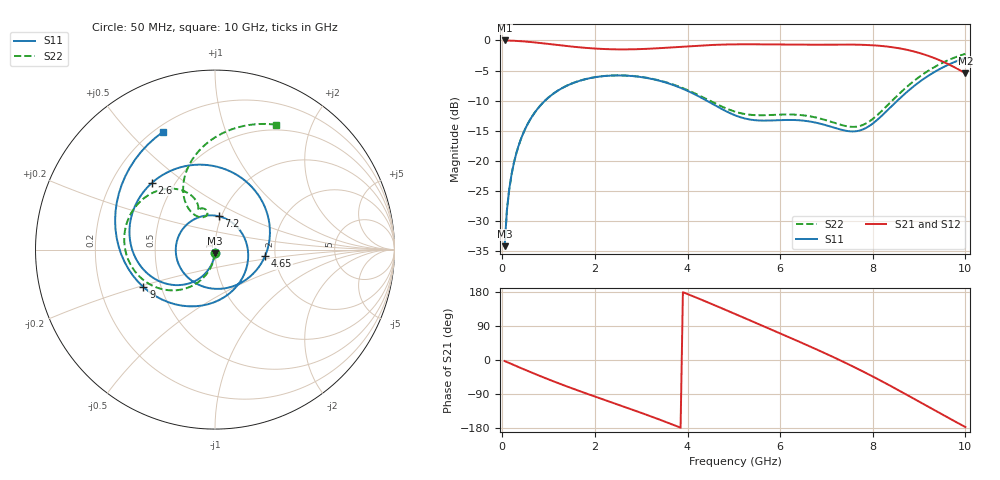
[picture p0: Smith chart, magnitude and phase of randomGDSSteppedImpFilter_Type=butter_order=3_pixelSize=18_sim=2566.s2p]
! freq	dB(S11)	phase(S11)	dB(S12)	phase(S12)
!  dB(S21)	phase(S21)	dB(S22)	phase(S22)
!S-par simulation data
#  GHz  S  DB  R 50
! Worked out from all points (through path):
!   200 points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, 50 MHz to 10 GHz, reference 50 ohm
!   highest |S21| = -0.01 dB at 50 MHz (marker M1); lowest = -5.5 dB at 10 GHz (marker M2)
!   group delay of S21, straight-line fit = 145 ps
!   lowest |S11| = -34.2 dB at 50 MHz (marker M3), VSWR 1.04, Z = 49.9 - j1.95 ohm
!   |S11| at or under -10 dB: start of sweep to 923.2 MHz; 4.413 GHz to 8.532 GHz (4.119 GHz wide, 63.6 % of centre)
!   |S22| runs from -34.2 to -2.2 dB; largest |S21 - S12| = 0
!   S11 on the Smith chart (normalised r, x): 50 MHz: 1.00, -0.04; 2.6 GHz: 0.38, +0.38; 4.65 GHz: 1.77, -0.14; 7.2 GHz: 0.97, +0.37; 9 GHz: 0.40, -0.21; 10 GHz: 0.23, +0.62
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0.05  -34.16 -92.8  -0.01 -2.7  -0.01 -2.7  -34.16 -92.4
0.1  -28.18 -96.0  -0.02 -5.4  -0.02 -5.4  -28.18 -95.1
0.2  -22.25 -101.9  -0.04 -10.7  -0.04 -10.7  -22.25 -100.2
0.5  -14.61 -118.9  -0.19 -26.3  -0.19 -26.3  -14.61 -114.8
1.1  -8.86 -151.3  -0.68 -56.0  -0.68 -56.0  -8.85 -141.9
1.75  -6.52 175.8  -1.21 -85.6  -1.21 -85.6  -6.52 -168.0
2.6  -5.82 133.2  -1.49 -122.1  -1.49 -122.1  -5.80 161.7
3.4  -6.71 88.6  -1.28 -157.4  -1.28 -157.4  -6.66 136.2
4.05  -8.55 44.5  -0.96 171.6  -0.96 171.6  -8.41 119.4
4.65  -11.01 -7.2  -0.72 141.2  -0.72 141.2  -10.65 111.3
5.05  -12.51 -49.1  -0.65 120.3  -0.65 120.3  -11.88 111.4
5.45  -13.24 -94.2  -0.65 99.2  -0.65 99.2  -12.40 113.4
5.85  -13.28 -137.5  -0.68 78.1  -0.68 78.1  -12.36 113.0
6.25  -13.20 -177.4  -0.71 56.9  -0.71 56.9  -12.30 109.4
6.7  -13.54 138.7  -0.71 32.7  -0.71 32.7  -12.68 103.9
7.2  -14.57 84.0  -0.69 4.7  -0.69 4.7  -13.76 101.8
7.75  -14.88 6.6  -0.72 -27.9  -0.72 -27.9  -14.14 113.6
8.35  -11.35 -79.3  -1.05 -66.1  -1.05 -66.1  -10.53 122.5
8.7  -8.81 -120.5  -1.50 -89.5  -1.50 -89.5  -7.95 116.2
9  -6.93 -152.3  -2.07 -109.9  -2.07 -109.9  -6.08 106.6
9.5  -4.53 158.9  -3.48 -143.8  -3.48 -143.8  -3.74 86.2
10  -2.90 114.1  -5.47 -176.9  -5.47 -176.9  -2.23 64.1
